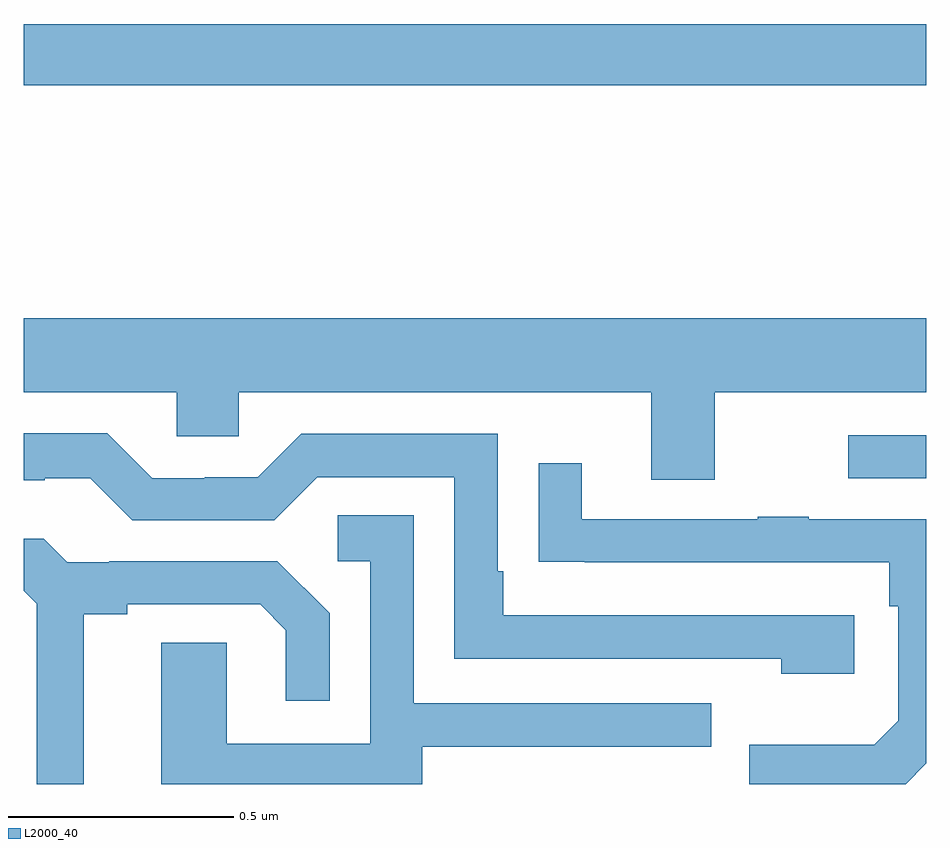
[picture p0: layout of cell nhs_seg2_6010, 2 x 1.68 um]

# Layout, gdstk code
import gdstk
lib = gdstk.Library(unit=1e-6, precision=1e-09)
def R(c, l, rs):  # rectangles x0, y0, x1, y1
    for r in rs: c.add(gdstk.rectangle(r[:2], r[2:], *l))
def P(c, l, *ps):  # polygons
    for p in ps: c.add(gdstk.Polygon(p, *l))
L2000_40 = (2000, 40)

nhs_seg2_6010 = lib.new_cell('nhs_seg2_6010')
R(nhs_seg2_6010, L2000_40, [(187.827,615.477,188,615.573), (186,616.348,188,616.484)])
P(nhs_seg2_6010, L2000_40, [(186,615.668),(186.339,615.668),(186.339,615.57),(186.477,615.57),(186.477,615.668),(187.391,615.668),(187.391,615.474),(187.531,615.474),(187.531,615.668),(188,615.668),(188,615.832),(186,615.832)],
  [(187.84,615.174),(187.063,615.174),(187.063,615.271),(187.05,615.271),(187.05,615.576),(186.615,615.576),(186.519,615.48),(186.401,615.48),(186.401,615.477),(186.285,615.477),(186.185,615.577),(186,615.577),(186,615.473),(186.047,615.473),(186.047,615.477),(186.147,615.477),(186.24,615.384),(186.555,615.384),(186.651,615.48),(186.954,615.48),(186.954,615.078),(187.679,615.078),(187.679,615.044),(187.84,615.044)],
  [(188,614.846),(188,615.387),(187.739,615.387),(187.739,615.392),(187.627,615.392),(187.627,615.387),(187.237,615.387),(187.237,615.511),(187.141,615.511),(187.141,615.292),(187.243,615.292),(187.243,615.291),(187.918,615.291),(187.918,615.194),(187.938,615.194),(187.938,614.94),(187.885,614.887),(187.608,614.887),(187.608,614.8),(187.954,614.8)],
  [(186.883,614.883),(187.523,614.883),(187.523,614.979),(186.864,614.979),(186.864,615.395),(186.696,615.395),(186.696,615.294),(186.768,615.294),(186.768,614.889),(186.45,614.889),(186.45,615.113),(186.305,615.113),(186.305,614.8),(186.883,614.8)],
  [(186.133,615.176),(186.229,615.176),(186.229,615.198),(186.524,615.198),(186.581,615.141),(186.581,614.985),(186.678,614.985),(186.678,615.178),(186.562,615.294),(186.19,615.294),(186.19,615.291),(186.096,615.291),(186.044,615.343),(186,615.343),(186,615.228),(186.029,615.199),(186.029,614.8),(186.133,614.8)])

lib.write_gds('nhs_seg2_6010.gds')
